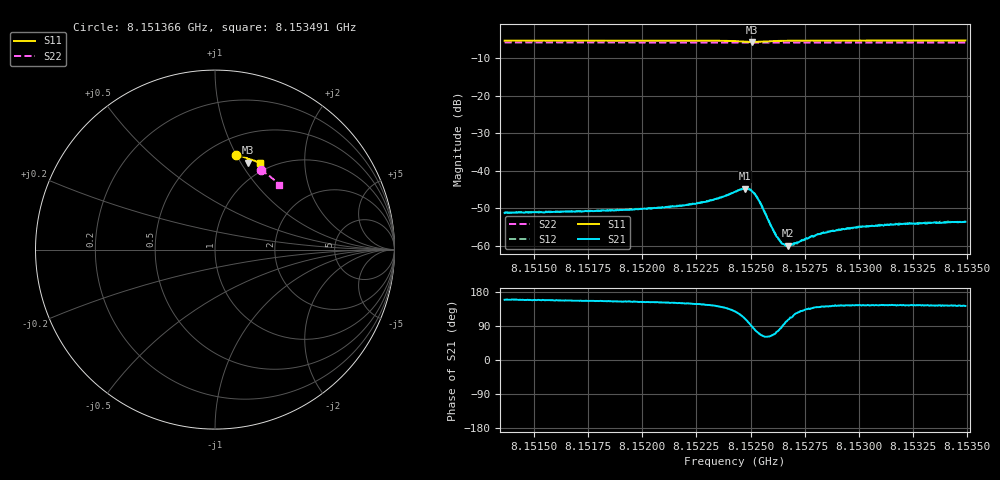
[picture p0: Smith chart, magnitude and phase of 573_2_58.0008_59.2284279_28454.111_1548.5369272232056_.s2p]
#  HZ  S  RI  R  50.00
! Rohde & Schwarz Vector Network Analyzer
! Rohde-Schwarz,ZNB20-2Port,1311601062101988,3.16
! Created: UTC 3/21/2024, 1:16:00 AM
! freq[Hz]  re:S11  im:S11  re:S21  im:S21  re:S12  im:S12  re:S22  im:S22
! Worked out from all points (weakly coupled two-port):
!   401 points, 8.151366 GHz to 8.153491 GHz, reference 50 ohm
!   highest |S21| = -44.80 dB at 8.152476 GHz (marker M1); lowest = -60.1 dB at 8.152673 GHz (marker M2)
!   lowest |S11| = -5.7 dB at 8.152508 GHz (marker M3), VSWR 3.15, Z = 40.5 + j53.7 ohm
!   |S11| at or under -10 dB: nowhere
!   |S22| runs from -5.9 to -5.8 dB; largest |S21 - S12| = 0.00011
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8.1513658e9  0.1151 0.5274  -0.00254 0.000975  -0.00257 0.00101  0.2538 0.444
8.1517218e9  0.1398 0.5219  -0.00259 0.00117  -0.00258 0.00118  0.273 0.4319
8.1520778e9  0.1649 0.5147  -0.00282 0.00149  -0.00284 0.00154  0.2917 0.4189
8.1522e9  0.1741 0.5113  -0.00298 0.00178  -0.00296 0.0018  0.298 0.4142
8.1522956e9  0.1819 0.5077  -0.00318 0.00219  -0.0032 0.00225  0.3031 0.4104
8.1523488e9  0.1866 0.5047  -0.00335 0.00261  -0.00332 0.00268  0.3057 0.4081
8.1524285e9  0.1927 0.4959  -0.00322 0.00409  -0.0032 0.0042  0.3095 0.4047
8.1524763e9  0.1902 0.4871  -0.00175 0.00548  -0.00172 0.00556  0.3117 0.4026
8.1525082e9  0.1826 0.4853  0.000262 0.00527  0.000336 0.00533  0.3127 0.4015
8.1525241e9  0.1793 0.4875  0.00103 0.00455  0.00109 0.00458  0.3134 0.4012
8.1525401e9  0.1777 0.4912  0.00138 0.00368  0.00145 0.00368  0.3142 0.4006
8.1525985e9  0.1825 0.5005  0.000743 0.00158  0.000779 0.00156  0.3174 0.3985
8.1526251e9  0.1861 0.502  0.000317 0.00125  0.000313 0.00123  0.3188 0.3975
8.1526357e9  0.1873 0.5022  0.000156 0.00114  0.00021 0.00115  0.3194 0.397
8.1526516e9  0.1893 0.5025  -5.76e-05 0.00105  -1.7e-05 0.0011  0.3201 0.3965
8.1526729e9  0.1916 0.5026  -0.000274 0.000955  -0.00023 0.000993  0.3213 0.3955
8.1527048e9  0.1949 0.5025  -0.000555 0.000915  -0.000543 0.000941  0.3228 0.3943
8.1527845e9  0.2022 0.5011  -0.000982 0.000926  -0.000982 0.000924  0.3266 0.3909
8.1528482e9  0.2073 0.4996  -0.00117 0.000938  -0.00117 0.000933  0.3297 0.3883
8.1529279e9  0.2132 0.4976  -0.00135 0.000983  -0.00134 0.000993  0.3335 0.3849
8.1531405e9  0.228 0.4918  -0.00155 0.00108  -0.00154 0.0011  0.3435 0.3758
8.1534912e9  0.2506 0.4816  -0.00165 0.00126  -0.00168 0.00125  0.3592 0.36
